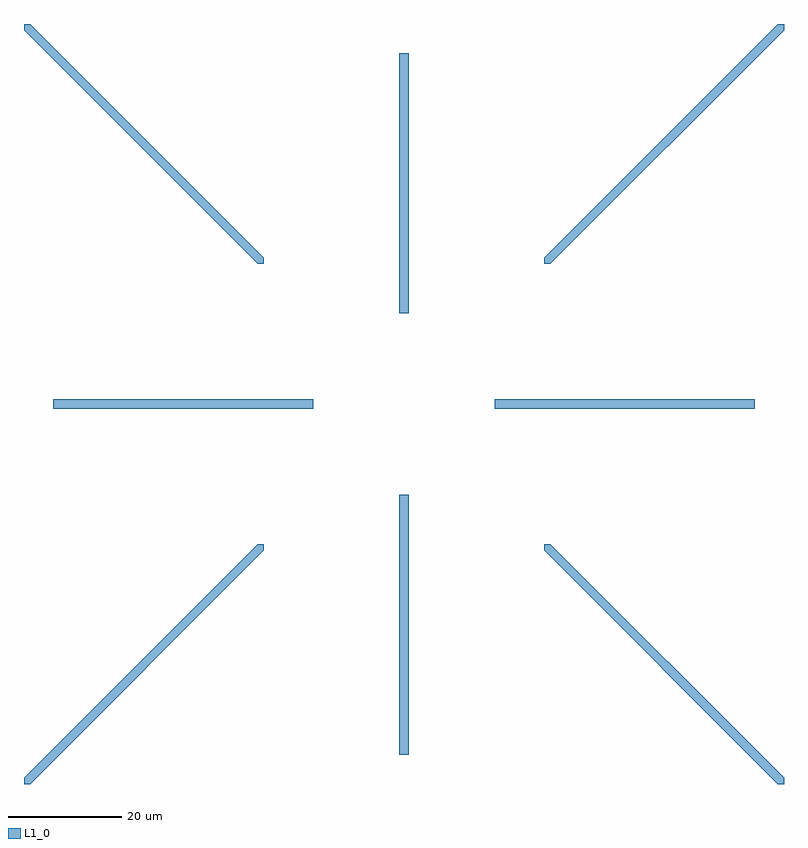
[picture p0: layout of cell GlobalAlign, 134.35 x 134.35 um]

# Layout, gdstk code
import gdstk
lib = gdstk.Library(unit=1e-6, precision=1e-09)
def R(c, l, rs):  # rectangles x0, y0, x1, y1
    for r in rs: c.add(gdstk.rectangle(r[:2], r[2:], *l))
def P(c, l, *ps):  # polygons
    for p in ps: c.add(gdstk.Polygon(p, *l))
L1_0 = (1, 0)

globalalign = lib.new_cell('GlobalAlign')
R(globalalign, L1_0, [(-0.8,-62,0.8,-16), (-62,-0.8,-16,0.8), (16,-0.8,62,0.8), (-0.8,16,0.8,62)])
P(globalalign, L1_0, [(-67.175,-67.175),(-67.175,-66.044),(-66.044,-67.175)],
  [(-66.044,-67.175),(-67.175,-66.044),(-25.88,-24.749),(-24.749,-25.88)],
  [(-24.749,-25.88),(-25.88,-24.749),(-24.749,-24.749)],
  [(66.044,-67.175),(67.175,-66.044),(67.175,-67.175)],
  [(66.044,-67.175),(24.749,-25.88),(25.88,-24.749),(67.175,-66.044)],
  [(24.749,-25.88),(24.749,-24.749),(25.88,-24.749)],
  [(67.175,66.044),(66.044,67.175),(67.175,67.175)],
  [(25.88,24.749),(24.749,25.88),(66.044,67.175),(67.175,66.044)],
  [(24.749,24.749),(24.749,25.88),(25.88,24.749)],
  [(-67.175,66.044),(-67.175,67.175),(-66.044,67.175)],
  [(-25.88,24.749),(-67.175,66.044),(-66.044,67.175),(-24.749,25.88)],
  [(-25.88,24.749),(-24.749,25.88),(-24.749,24.749)])

lib.write_gds('GlobalAlign.gds')
